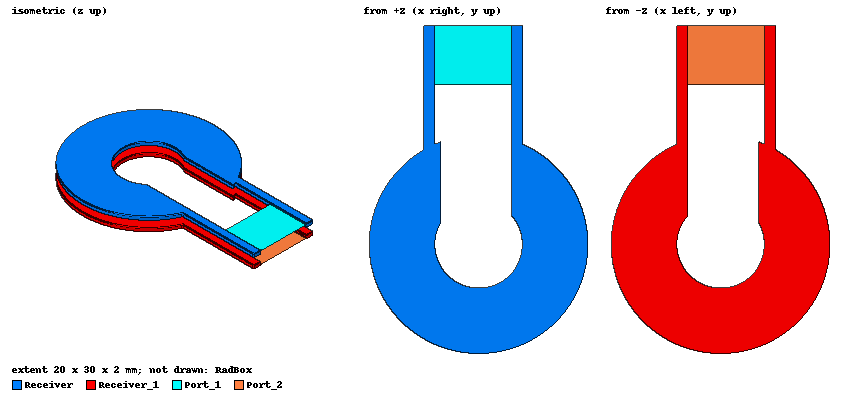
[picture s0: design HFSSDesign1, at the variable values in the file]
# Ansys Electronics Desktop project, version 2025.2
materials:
  vacuum: permittivity=1
  aluminum: permeability=1.000021 conductivity=38000000
  copper: permeability=0.999991 conductivity=58000000
  ferrite: permittivity=12 permeability=1000 conductivity=0.01

design HFSSDesign1 (HFSS, HFSS Terminal Network, model units mm)
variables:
  dist_offest = 2.5mm
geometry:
  Receiver [copper] = cylinder(axis=Z, base_centre=(0mm, 0mm, dist_offest), radius=10mm, height=0.5mm)
  Cylinder2 = cylinder(axis=Z, base_centre=(0mm, 0mm, dist_offest), radius=4mm, height=0.5mm)
  Receiver.subtract(Cylinder2)
  Port = box(corner=(4mm, 5mm, dist_offest), size=(-1mm, 15mm, 0.5mm))
  Port1 = box(corner=(-4mm, 5mm, dist_offest), size=(-1mm, 15mm, 0.5mm))
  Receiver.unite(Port, Port1)
  RadBox [vacuum] = box(corner=((-25/2) mm, (-45/2) mm, -15mm), size=(25mm, 45mm, 25mm))
  Port_1 = rectangle(corner=(4mm, 14.582576mm, 2.9mm), x_size=-9mm, y_size=5.4174243mm)
  Box1 = box(corner=(3mm, 11mm, 3.5mm), size=(-6.5mm, -9.539392mm, -1.5mm))
  Receiver.subtract(Box1)
  Receiver_1 [copper] = Receiver.duplicate_mirror(point=(0mm, 0mm, 2mm), normal=(0mm, 0mm, -1mm))
  Port_2 = Port_1.duplicate_mirror(point=(0mm, 0mm, 2mm), normal=(0mm, 0mm, -1mm))
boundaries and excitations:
  Rad1: Radiation Objects=RadBox
  1: Lumped Port Faces=Port_1.face(at (-0.5, 17.2913, 2.9)) LumpedPortType=Modal Modes{Mode1{IntLine{(-0.5, 20, 2.9) -> (-0.5, 14.582576, 2.9)} CharImp=Zpi RenormImp=50ohm}} Impedance=50ohm
  2: Lumped Port Faces=Port_2.face LumpedPortType=Modal Modes{Mode1{IntLine{(-0.5, 20, 1.1) -> (-0.5, 14.582576, 1.1)} CharImp=Zpi RenormImp=50ohm}} Impedance=50ohm
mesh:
  Length1: LengthBased RefineInside Objects=Receiver NumMaxElem=3000 MaxLength=1mm
  Length2: LengthBased RefineInside Objects=Receiver_1 NumMaxElem=3000 MaxLength=1mm
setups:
  Setup1: HfssDriven Frequency=2.4GHz MaxDeltaS=0.02 MaximumPasses=6 MinimumPasses=1 MinimumConvergedPasses=1 PercentRefinement=30 BasisOrder=1 PortAccuracy=2 DrivenSolverType="Direct Solver"
    sweep Sweep: 1GHz to 10GHz, 71 points; Type=Interpolating SaveFields InterpTolerance=0.5 InterpMaxSolns=250 PassivityErrorTolerance=0.0001
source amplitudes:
  1:1, 2:1: 1V 0deg
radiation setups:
  Infinite Sphere1: Infinite Sphere Theta=0deg..180deg step 10deg Phi=0deg..360deg step 10deg
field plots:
  Vector_E1: E Field over Receiver.face(all 12) Receiver_1.face(all 12) on Setup1 : LastAdaptive at Freq=2.4GHz Phase=0deg
  Vector_H1: H Field over Receiver.face(all 12) Receiver_1.face(all 12) on Setup1 : LastAdaptive at Freq=2.4GHz Phase=0deg
  Mag_E1: E Field in RadBox on Setup1 : LastAdaptive at Freq=2.4GHz Phase=0deg
  Mag_H1: H Field in RadBox on Setup1 : LastAdaptive at Freq=2.4GHz Phase=0deg
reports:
  S Parameter Plot1: dB(S(1,1)), dB(S(2,1)), dB(S(1,2)), dB(S(2,2)) vs Freq on Setup1 : Sweep; markers m1 at 4.8571429GHz, m2 at 4.8571429GHz, m3 at 3.1857143GHz
  VSWR Plot1: VSWR(1), VSWR(2) vs Freq on Setup1 : Sweep
  Gain Plot1: dB(GainTotal) vs Phi, Theta on Setup1 : LastAdaptive, Infinite Sphere1 [Freq=2.4GHz]
